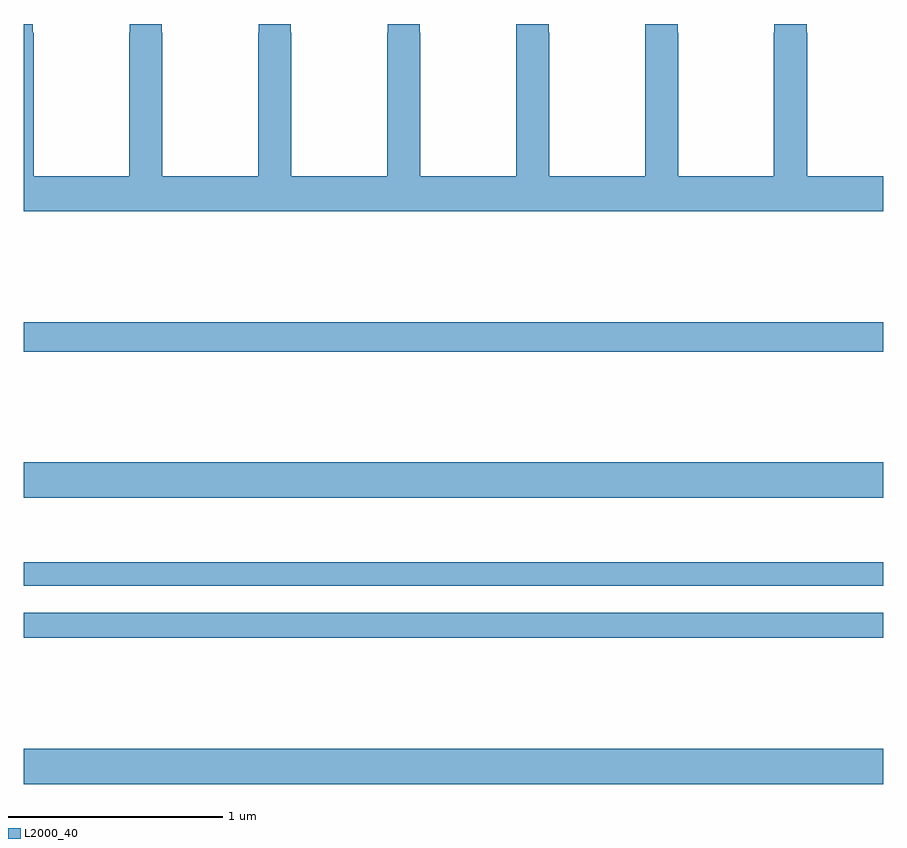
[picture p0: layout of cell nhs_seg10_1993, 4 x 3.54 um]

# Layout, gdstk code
import gdstk
lib = gdstk.Library(unit=1e-6, precision=1e-09)
def R(c, l, rs):  # rectangles x0, y0, x1, y1
    for r in rs: c.add(gdstk.rectangle(r[:2], r[2:], *l))
def P(c, l, *ps):  # polygons
    for p in ps: c.add(gdstk.Polygon(p, *l))
L2000_40 = (2000, 40)

nhs_seg10_1993 = lib.new_cell('nhs_seg10_1993')
R(nhs_seg10_1993, L2000_40, [(215,1318.964,219,1319.128), (215,1319.644,219,1319.76), (215,1319.886,219,1319.995), (215,1320.296,219,1320.46), (215,1320.976,219,1321.112)])
P(nhs_seg10_1993, L2000_40, [(219,1321.792),(218.646,1321.792),(218.646,1322.459),(218.643,1322.459),(218.643,1322.5),(218.493,1322.5),(218.493,1322.459),(218.491,1322.459),(218.491,1321.792),(218.046,1321.792),(218.046,1322.459),(218.043,1322.459),(218.043,1322.5),(217.893,1322.5),(217.893,1322.459),(217.891,1322.459),(217.891,1321.792),(217.446,1321.792),(217.446,1322.459),(217.443,1322.459),(217.443,1322.5),(217.293,1322.5),(217.293,1322.459),(217.291,1322.459),(217.291,1321.792),(216.846,1321.792),(216.846,1322.459),(216.843,1322.459),(216.843,1322.5),(216.693,1322.5),(216.693,1322.459),(216.691,1322.459),(216.691,1321.792),(216.246,1321.792),(216.246,1322.459),(216.243,1322.459),(216.243,1322.5),(216.093,1322.5),(216.093,1322.459),(216.091,1322.459),(216.091,1321.792),(215.646,1321.792),(215.646,1322.459),(215.643,1322.459),(215.643,1322.5),(215.493,1322.5),(215.493,1322.459),(215.491,1322.459),(215.491,1321.792),(215.046,1321.792),(215.046,1322.459),(215.043,1322.459),(215.043,1322.5),(215,1322.5),(215,1321.628),(219,1321.628)])

lib.write_gds('nhs_seg10_1993.gds')
